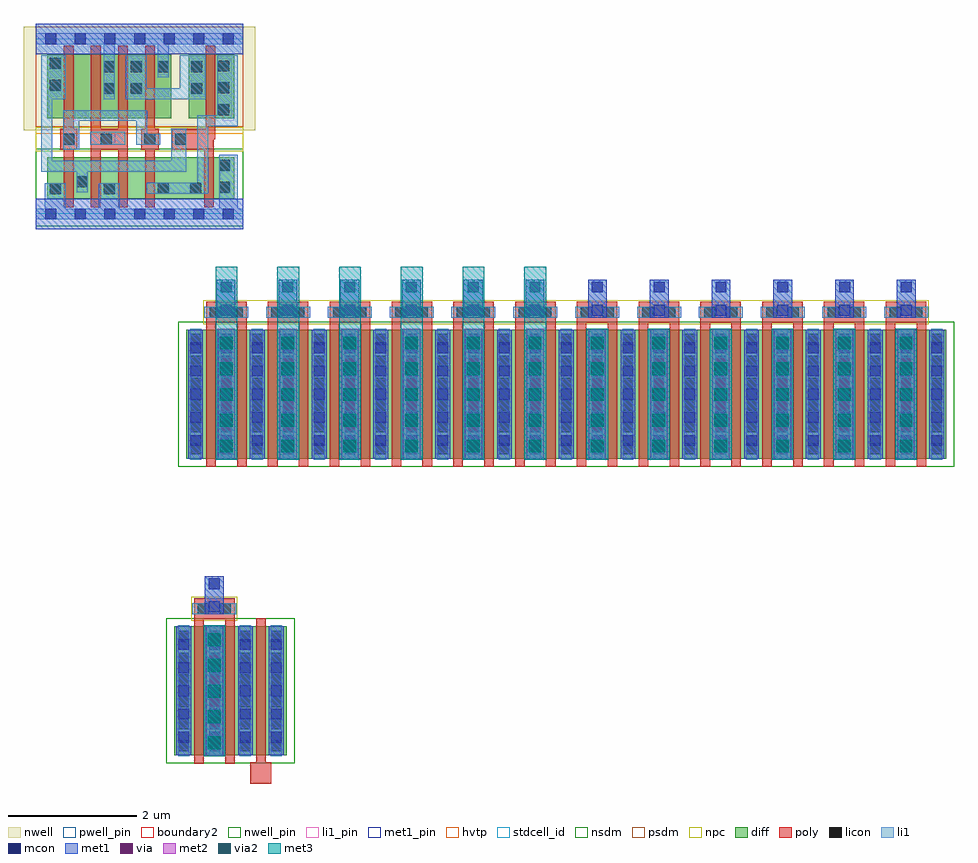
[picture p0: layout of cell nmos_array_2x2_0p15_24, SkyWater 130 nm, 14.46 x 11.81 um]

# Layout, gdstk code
import gdstk
lib = gdstk.Library(unit=1e-6, precision=1e-09)
def R(c, l, rs):  # rectangles x0, y0, x1, y1
    for r in rs: c.add(gdstk.rectangle(r[:2], r[2:], *l))
def A(c, l, x, y, w, h, nx, ny, dx, dy):  # array of equal rectangles
    R(c, l, [(x+i*dx, y+j*dy, x+i*dx+w, y+j*dy+h) for i in range(nx) for j in range(ny)])
def P(c, l, *ps):  # polygons
    for p in ps: c.add(gdstk.Polygon(p, *l))
nwell_pin = (64, 16)
nwell = (64, 20)
diff = (65, 20)
poly = (66, 20)
licon = (66, 44)
li1_pin = (67, 16)
li1 = (67, 20)
mcon = (67, 44)
met1_pin = (68, 16)
met1 = (68, 20)
via = (68, 44)
met2 = (69, 20)
via2 = (69, 44)
met3 = (70, 20)
hvtp = (78, 44)
stdcell_id = (81, 4)
nsdm = (93, 44)
psdm = (94, 20)
npc = (95, 20)
pwell_pin = (122, 16)
boundary2 = (236, 0)

sky130_fd_sc_hd__xor2_1 = lib.new_cell('sky130_fd_sc_hd__xor2_1')
R(sky130_fd_sc_hd__xor2_1, nwell_pin, [(0.145,2.635,0.315,2.805)])
R(sky130_fd_sc_hd__xor2_1, nwell, [(-0.19,1.305,3.41,2.91)])
R(sky130_fd_sc_hd__xor2_1, diff, [(0.175,0.235,3.085,0.885), (0.175,1.485,2.105,2.485), (2.375,1.485,3.085,2.485)])
P(sky130_fd_sc_hd__xor2_1, poly, [(0.645,1.325),(0.585,1.325),(0.585,2.615),(0.435,2.615),(0.435,1.325),(0.375,1.325),(0.375,0.995),(0.435,0.995),(0.435,0.105),(0.585,0.105),(0.585,0.995),(0.645,0.995)],
  [(1.425,2.615),(1.275,2.615),(1.275,1.325),(1.005,1.325),(1.005,2.615),(0.855,2.615),(0.855,0.105),(1.005,0.105),(1.005,0.995),(1.275,0.995),(1.275,0.105),(1.425,0.105)],
  [(1.905,1.325),(1.845,1.325),(1.845,2.615),(1.695,2.615),(1.695,1.325),(1.635,1.325),(1.635,0.995),(1.695,0.995),(1.695,0.105),(1.845,0.105),(1.845,0.995),(1.905,0.995)],
  [(2.765,1.16),(2.785,1.16),(2.785,2.615),(2.635,2.615),(2.635,1.325),(2.115,1.325),(2.115,0.995),(2.615,0.995),(2.615,0.105),(2.765,0.105)])
A(sky130_fd_sc_hd__xor2_1, licon, 2.835, 1.535, 0.17, 0.17, 1, 3, 0, 0.34)
A(sky130_fd_sc_hd__xor2_1, licon, 1.055, 2.205, 0.17, 0.17, 3, 1, 0.42, 0)
R(sky130_fd_sc_hd__xor2_1, licon, [(0.215,0.305,0.385,0.475), (1.055,0.305,1.225,0.475), (1.895,0.315,2.065,0.485), (2.395,0.315,2.565,0.485), (2.845,0.33,3.015,0.5), (0.635,0.415,0.805,0.585), (2.845,0.67,3.015,0.84), (0.425,1.075,0.595,1.245), (1.01,1.075,1.18,1.245), (1.685,1.075,1.855,1.245), (2.165,1.075,2.335,1.245), (1.055,1.865,1.225,2.035), (1.475,1.865,1.645,2.035), (2.415,1.865,2.585,2.035), (0.215,1.915,0.385,2.085), (2.415,2.205,2.585,2.375), (0.215,2.255,0.385,2.425)])
R(sky130_fd_sc_hd__xor2_1, li1_pin, [(1.065,1.105,1.235,1.275), (0.605,1.445,0.775,1.615), (2.905,1.445,3.075,1.615)])
R(sky130_fd_sc_hd__xor2_1, li1, [(0.84,1.075,1.39,1.275)])
P(sky130_fd_sc_hd__xor2_1, li1, [(1.935,1.245),(1.73,1.245),(1.73,1.615),(0.425,1.615),(0.425,0.995),(0.67,0.995),(0.67,1.445),(1.56,1.445),(1.56,1.075),(1.935,1.075)],
  [(2.335,1.325),(2.105,1.325),(2.105,0.825),(0.255,0.825),(0.255,1.785),(0.465,1.785),(0.465,2.465),(0.085,2.465),(0.085,0.655),(0.635,0.655),(0.635,0.335),(0.805,0.335),(0.805,0.655),(2.335,0.655)],
  [(2.635,2.465),(2.235,2.465),(2.235,1.955),(1.725,1.955),(1.725,2.465),(1.395,2.465),(1.395,1.785),(2.635,1.785)],
  [(3.135,2.465),(2.815,2.465),(2.815,1.535),(2.505,1.535),(2.505,0.485),(1.72,0.485),(1.72,0.315),(2.675,0.315),(2.675,1.365),(3.135,1.365)],
  [(3.22,2.805),(0,2.805),(0,2.635),(1.055,2.635),(1.055,1.785),(1.225,1.785),(1.225,2.635),(1.895,2.635),(1.895,2.125),(2.065,2.125),(2.065,2.635),(3.22,2.635)],
  [(3.22,0.085),(3.135,0.085),(3.135,0.92),(2.845,0.92),(2.845,0.085),(1.305,0.085),(1.305,0.475),(0.975,0.475),(0.975,0.085),(0.465,0.085),(0.465,0.475),(0.135,0.475),(0.135,0.085),(0,0.085),(0,-0.085),(3.22,-0.085)])
A(sky130_fd_sc_hd__xor2_1, mcon, 0.145, -0.085, 0.17, 0.17, 7, 2, 0.46, 2.72)
R(sky130_fd_sc_hd__xor2_1, met1_pin, [(0.145,-0.085,0.315,0.085), (0.145,2.635,0.315,2.805)])
R(sky130_fd_sc_hd__xor2_1, hvtp, [(0,1.25,3.22,2.72)])
R(sky130_fd_sc_hd__xor2_1, stdcell_id, [(0,0,3.22,2.72)])
R(sky130_fd_sc_hd__xor2_1, nsdm, [(0,-0.19,3.22,1.015)])
R(sky130_fd_sc_hd__xor2_1, psdm, [(0,1.355,3.22,2.91)])
R(sky130_fd_sc_hd__xor2_1, npc, [(0,0.975,3.22,1.345)])
R(sky130_fd_sc_hd__xor2_1, pwell_pin, [(0.145,-0.085,0.315,0.085)])
R(sky130_fd_sc_hd__xor2_1, boundary2, [(0,0,3.22,2.72)])
sky130_fd_sc_hd__xor2_1.add(gdstk.FlexPath([(0,0),(3.22,0)], 0.48, ends="flush", simple_path=True, layer=68, datatype=20))  # met1
sky130_fd_sc_hd__xor2_1.add(gdstk.FlexPath([(0,2.72),(3.22,2.72)], 0.48, ends="flush", simple_path=True, layer=68, datatype=20))  # met1
sky130_fd_sc_hd__xor2_1.add(gdstk.Label('B', (0.69,1.53), layer=67, texttype=5))
sky130_fd_sc_hd__xor2_1.add(gdstk.Label('X', (2.99,1.53), layer=67, texttype=5))
sky130_fd_sc_hd__xor2_1.add(gdstk.Label('A', (1.15,1.19), layer=67, texttype=5))
sky130_fd_sc_hd__xor2_1.add(gdstk.Label('VNB', (0.23,0), layer=64, texttype=59))
sky130_fd_sc_hd__xor2_1.add(gdstk.Label('VPB', (0.23,2.72), layer=64, texttype=5))
sky130_fd_sc_hd__xor2_1.add(gdstk.Label('VPWR', (0.23,2.72), layer=68, texttype=5))
sky130_fd_sc_hd__xor2_1.add(gdstk.Label('VGND', (0.23,0), layer=68, texttype=5))
sky130_fd_sc_hd__xor2_1.add(gdstk.Label('xor2_1', (0,0), layer=83, texttype=44))

nmos_array_2x2_0p15_24 = lib.new_cell('nmos_array_2x2_0p15_24')
R(nmos_array_2x2_0p15_24, diff, [(0.19,-29.6,1.94,-27.6), (0.375,-24.99,12.185,-22.99)])
A(nmos_array_2x2_0p15_24, poly, 0.685, -25.12, 0.15, 2.24, 24, 1, 0.48, 0)
A(nmos_array_2x2_0p15_24, poly, 0.685, -22.88, 0.63, 0.33, 12, 1, 0.96, 0)
R(nmos_array_2x2_0p15_24, poly, [(1.37,-30.04,1.7,-29.71), (0.5,-29.73,0.65,-27.49), (0.98,-29.73,1.13,-27.49), (1.46,-29.71,1.61,-27.47), (0.5,-27.49,1.13,-27.16)])
A(nmos_array_2x2_0p15_24, licon, 0.25, -29.535, 0.17, 0.17, 4, 6, 0.48, 0.34)
A(nmos_array_2x2_0p15_24, licon, 0.435, -24.925, 0.17, 0.17, 25, 6, 0.48, 0.34)
R(nmos_array_2x2_0p15_24, licon, [(0.555,-27.41,0.725,-27.24), (0.895,-27.41,1.065,-27.24), (0.74,-22.8,0.91,-22.63), (1.08,-22.8,1.25,-22.63), (1.7,-22.8,1.87,-22.63), (2.04,-22.8,2.21,-22.63), (2.66,-22.8,2.83,-22.63), (3,-22.8,3.17,-22.63), (3.62,-22.8,3.79,-22.63), (3.96,-22.8,4.13,-22.63), (4.58,-22.8,4.75,-22.63), (4.92,-22.8,5.09,-22.63), (5.54,-22.8,5.71,-22.63), (5.88,-22.8,6.05,-22.63), (6.505,-22.8,6.675,-22.63), (6.845,-22.8,7.015,-22.63), (7.465,-22.8,7.635,-22.63), (7.805,-22.8,7.975,-22.63), (8.425,-22.8,8.595,-22.63), (8.765,-22.8,8.935,-22.63), (9.385,-22.8,9.555,-22.63), (9.725,-22.8,9.895,-22.63), (10.345,-22.8,10.515,-22.63), (10.685,-22.8,10.855,-22.63), (11.305,-22.8,11.475,-22.63), (11.645,-22.8,11.815,-22.63)])
A(nmos_array_2x2_0p15_24, li1, 0.25, -29.62, 0.17, 2.04, 4, 1, 0.48, 0)
A(nmos_array_2x2_0p15_24, li1, 0.435, -25.01, 0.17, 2.04, 25, 1, 0.48, 0)
A(nmos_array_2x2_0p15_24, li1, 0.655, -22.8, 0.685, 0.17, 6, 1, 0.96, 0)
A(nmos_array_2x2_0p15_24, li1, 6.42, -22.8, 0.685, 0.17, 6, 1, 0.96, 0)
A(nmos_array_2x2_0p15_24, li1, 0.85, -22.63, 0.29, 0.42, 6, 1, 0.96, 0)
A(nmos_array_2x2_0p15_24, li1, 6.62, -22.63, 0.29, 0.42, 6, 1, 0.96, 0)
R(nmos_array_2x2_0p15_24, li1, [(0.47,-27.41,1.155,-27.24), (0.665,-27.24,0.955,-26.82)])
A(nmos_array_2x2_0p15_24, mcon, 0.25, -29.405, 0.17, 0.17, 4, 5, 0.48, 0.36)
A(nmos_array_2x2_0p15_24, mcon, 0.435, -24.795, 0.17, 0.17, 25, 5, 0.48, 0.36)
A(nmos_array_2x2_0p15_24, mcon, 0.91, -22.77, 0.17, 0.17, 6, 2, 0.96, 0.36)
A(nmos_array_2x2_0p15_24, mcon, 6.68, -22.77, 0.17, 0.17, 6, 2, 0.96, 0.36)
R(nmos_array_2x2_0p15_24, mcon, [(0.725,-27.38,0.895,-27.21), (0.725,-27.02,0.895,-26.85)])
A(nmos_array_2x2_0p15_24, met1, 0.87, -25.01, 0.26, 2.04, 12, 1, 0.96, 0)
A(nmos_array_2x2_0p15_24, met1, 0.405, -24.99, 0.23, 2, 13, 1, 0.96, 0)
A(nmos_array_2x2_0p15_24, met1, 0.85, -22.8, 0.29, 0.59, 6, 1, 0.96, 0)
A(nmos_array_2x2_0p15_24, met1, 6.62, -22.8, 0.29, 0.59, 6, 1, 0.96, 0)
R(nmos_array_2x2_0p15_24, met1, [(0.685,-29.62,0.945,-27.58), (0.22,-29.6,0.45,-27.6), (1.18,-29.6,1.41,-27.6), (1.66,-29.6,1.89,-27.6), (0.665,-27.41,0.955,-26.82)])
A(nmos_array_2x2_0p15_24, via, 0.74, -29.48, 0.15, 0.15, 1, 6, 0, 0.32)
A(nmos_array_2x2_0p15_24, via, 0.925, -24.87, 0.15, 0.15, 12, 6, 0.96, 0.32)
A(nmos_array_2x2_0p15_24, met2, 0.855, -25.01, 0.285, 2.04, 6, 1, 0.96, 0)
A(nmos_array_2x2_0p15_24, met2, 6.62, -25.01, 0.285, 2.04, 6, 1, 0.96, 0)
R(nmos_array_2x2_0p15_24, met2, [(0.67,-29.62,0.955,-27.58)])
A(nmos_array_2x2_0p15_24, via2, 0.71, -29.505, 0.2, 0.2, 1, 5, 0, 0.4)
A(nmos_array_2x2_0p15_24, via2, 0.895, -24.895, 0.2, 0.2, 6, 5, 0.96, 0.4)
A(nmos_array_2x2_0p15_24, via2, 6.66, -24.895, 0.2, 0.2, 6, 5, 0.96, 0.4)
A(nmos_array_2x2_0p15_24, met3, 0.83, -25.01, 0.34, 3, 6, 1, 0.96, 0)
A(nmos_array_2x2_0p15_24, met3, 6.59, -25.01, 0.34, 2.04, 6, 1, 0.96, 0)
R(nmos_array_2x2_0p15_24, met3, [(0.645,-29.62,0.985,-27.58)])
R(nmos_array_2x2_0p15_24, nsdm, [(0.065,-29.725,2.065,-27.475), (0.25,-25.115,12.31,-22.865)])
R(nmos_array_2x2_0p15_24, npc, [(0.455,-27.51,1.165,-27.14), (0.64,-22.9,11.915,-22.53)])
nmos_array_2x2_0p15_24.add(gdstk.Reference(sky130_fd_sc_hd__xor2_1, (-1.96,-21.19)))

lib.write_gds('nmos_array_2x2_0p15_24.gds')
